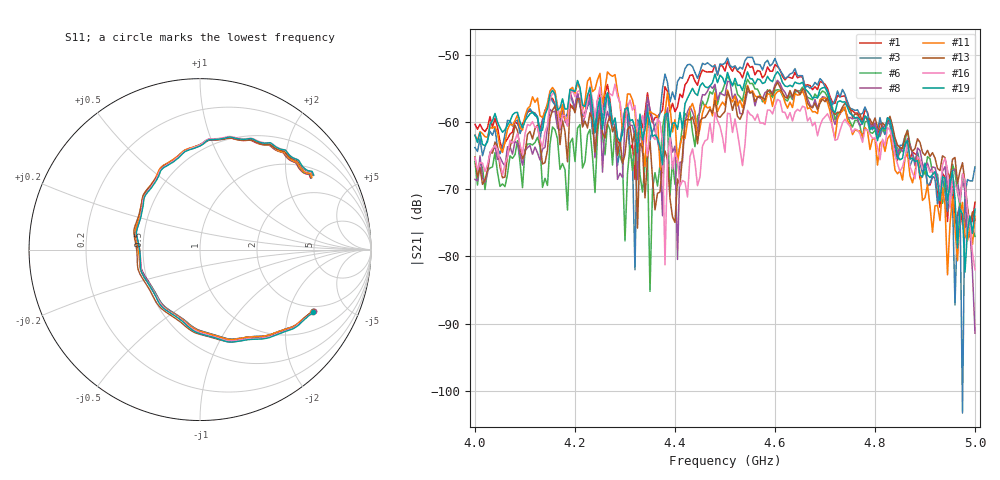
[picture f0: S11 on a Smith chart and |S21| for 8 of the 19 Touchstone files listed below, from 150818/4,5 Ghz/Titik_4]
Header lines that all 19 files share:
# Hz S RI R 50
! CMT, C1220, 16058040, 17.2.0/1
! Data: Format (Calibration Info)
! Freq  S11: Re/Im (F2)  S21: Re/Im (F2)  S12: Re/Im (F2)  S22: Re/Im (F2)
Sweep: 4 GHz to 5 GHz
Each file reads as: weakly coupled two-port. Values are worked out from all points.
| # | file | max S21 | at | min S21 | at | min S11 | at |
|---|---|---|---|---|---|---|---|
| 1 | Sudut_0_Titik_4.s2p | -50.91 dB | 4.505 GHz | -75.7 dB | 4.98 GHz | -9.1 dB | 4.36 GHz |
| 2 | Sudut_10_Titik_4.s2p | -50.39 dB | 4.505 GHz | -84.2 dB | 4.96 GHz | -9.1 dB | 4.36 GHz |
| 3 | Sudut_20_Titik_4.s2p | -50.34 dB | 4.545 GHz | -103.3 dB | 4.975 GHz | -9.1 dB | 4.36 GHz |
| 4 | Sudut_50_Titik_4.s2p | -51.18 dB | 4.545 GHz | -88.2 dB | 4.96 GHz | -8.8 dB | 4.36 GHz |
| 5 | Sudut_70_Titik_4.s2p | -52.78 dB | 4.505 GHz | -94.2 dB | 4.95 GHz | -8.9 dB | 4.36 GHz |
| 6 | Sudut_90_Titik_4.s2p | -53.18 dB | 4.505 GHz | -85.2 dB | 4.35 GHz | -8.9 dB | 4.36 GHz |
| 7 | Sudut_100_Titik_4.s2p | -53.82 dB | 4.505 GHz | -82.2 dB | 4.99 GHz | -8.9 dB | 4.36 GHz |
| 8 | Sudut_120_Titik_4.s2p | -53.77 dB | 4.605 GHz | -91.4 dB | 5 GHz | -9.0 dB | 4.36 GHz |
| 9 | Sudut_130_Titik_4.s2p | -54.54 dB | 4.23 GHz | -87.9 dB | 4.985 GHz | -8.8 dB | 4.36 GHz |
| 10 | Sudut_140_Titik_4.s2p | -53.44 dB | 4.265 GHz | -85.2 dB | 4.985 GHz | -8.7 dB | 4.36 GHz |
| 11 | Sudut_150_Titik_4.s2p | -52.52 dB | 4.265 GHz | -82.7 dB | 4.945 GHz | -8.9 dB | 4.36 GHz |
| 12 | Sudut_160_Titik_4.s2p | -52.57 dB | 4.265 GHz | -84.3 dB | 4.945 GHz | -9.1 dB | 4.36 GHz |
| 13 | Sudut_230_Titik_4.s2p | -54.08 dB | 4.605 GHz | -75.8 dB | 4.325 GHz | -8.7 dB | 4.36 GHz |
| 14 | Sudut_260_Titik_4.s2p | -55.35 dB | 4.605 GHz | -78.6 dB | 4.41 GHz | -8.7 dB | 4.36 GHz |
| 15 | Sudut_270_Titik_4.s2p | -54.88 dB | 4.545 GHz | -76.9 dB | 4.185 GHz | -8.6 dB | 4.36 GHz |
| 16 | Sudut_300_Titik_4.s2p | -54.33 dB | 4.28 GHz | -82.0 dB | 5 GHz | -9.1 dB | 4.36 GHz |
| 17 | Sudut_310_Titik_4.s2p | -54.50 dB | 4.28 GHz | -87.8 dB | 4.995 GHz | -9.1 dB | 4.36 GHz |
| 18 | Sudut_330_Titik_4.s2p | -55.07 dB | 4.27 GHz | -85.2 dB | 4.995 GHz | -9.1 dB | 4.36 GHz |
| 19 | Sudut_350_Titik_4.s2p | -52.48 dB | 4.605 GHz | -82.3 dB | 4.98 GHz | -9.1 dB | 4.36 GHz |
